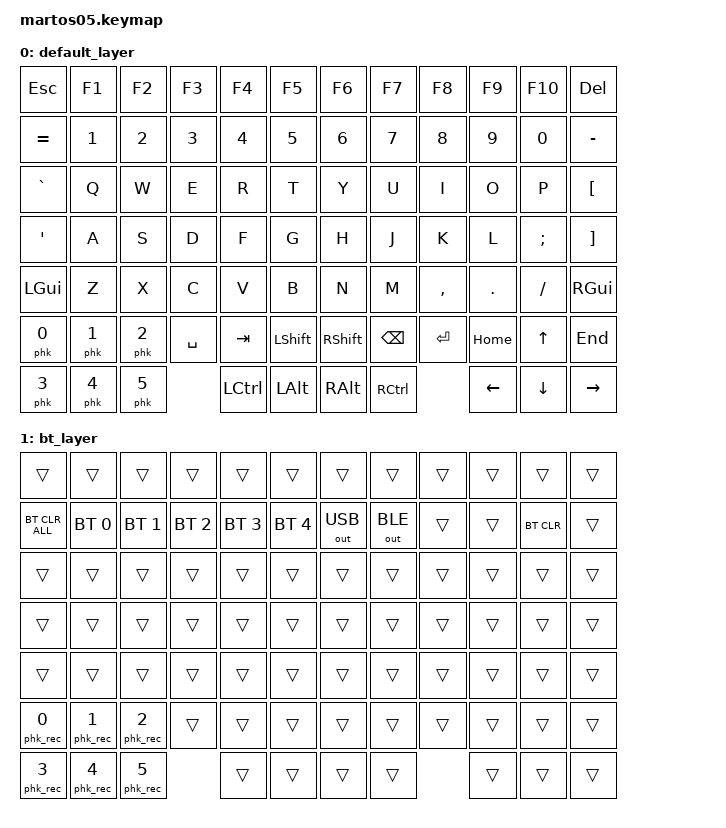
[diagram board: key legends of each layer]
#include <behaviors.dtsi>
#include <dt-bindings/zmk/keys.h>
#include <dt-bindings/zmk/bt.h>
#include <dt-bindings/zmk/outputs.h>

// Firmware sends QWERTY-positional scan codes. OS must be set to Colemak —
// it remaps the scan codes to the Colemak characters printed on the keycaps.
// Bindings below reflect QWERTY positions; the comment block shows what the
// user actually types (i.e. Colemak) when the OS layout is active.

#define DEF 0
#define BT  1

/ {
    behaviors {
        phk: programmable_hotkey {
            compatible = "zmk,behavior-programmable-hotkey";
            #binding-cells = <1>;
            defaults = <LS(F10) LS(F9) LC(F2) F8 F7 F9>;
        };

        phk_rec: programmable_hotkey_record {
            compatible = "zmk,behavior-programmable-hotkey-record";
            #binding-cells = <1>;
        };
    };

    combos {
        compatible = "zmk,combos";

        // Esc (pos 0) + Del (pos 11) — toggles the BT layer on/off.
        // Works both from DEF (enter BT) and from BT (leave BT).
        combo_bt_toggle {
            timeout-ms = <50>;
            key-positions = <0 11>;
            bindings = <&tog BT>;
            layers = <DEF BT>;
        };
    };

    keymap {
        compatible = "zmk,keymap";

        default_layer {
            // Produces on screen (with OS in Colemak):
            // | Esc   | F1    | F2    | F3    | F4    | F5    | F6    | F7    | F8    | F9    | F10   | Del   |
            // | =     | 1     | 2     | 3     | 4     | 5     | 6     | 7     | 8     | 9     | 0     | -     |
            // | `     | Q     | W     | F     | P     | G     | J     | L     | U     | Y     | ;     | [     |
            // | '     | A     | R     | S     | T     | D     | H     | N     | E     | I     | O     | ]     |
            // | LGUI  | Z     | X     | C     | V     | B     | K     | M     | ,     | .     | /     | RGUI  |
            // | M1    | M2    | M3    | Space | Tab   | LSFT  | RSFT  | BSPC  | Enter | Home  | Up    | End   |
            // | M4    | M5    | M6    |       | LCTL  | LALT  | RALT  | RCTL  |       | Left  | Down  | Right |

            bindings = <
            &kp ESC      &kp F1       &kp F2       &kp F3       &kp F4       &kp F5       &kp F6       &kp F7       &kp F8       &kp F9       &kp F10      &kp DEL
            &kp EQUAL    &kp N1       &kp N2       &kp N3       &kp N4       &kp N5       &kp N6       &kp N7       &kp N8       &kp N9       &kp N0       &kp MINUS
            &kp GRAVE    &kp Q        &kp W        &kp E        &kp R        &kp T        &kp Y        &kp U        &kp I        &kp O        &kp P        &kp LBKT
            &kp APOS     &kp A        &kp S        &kp D        &kp F        &kp G        &kp H        &kp J        &kp K        &kp L        &kp SEMI     &kp RBKT
            &kp LGUI     &kp Z        &kp X        &kp C        &kp V        &kp B        &kp N        &kp M        &kp COMMA    &kp DOT      &kp FSLH     &kp RGUI
            &phk 0       &phk 1       &phk 2       &kp SPACE    &kp TAB      &kp LSHFT    &kp RSHFT    &kp BSPC     &kp RET      &kp HOME     &kp UP       &kp END
            &phk 3       &phk 4       &phk 5                    &kp LCTRL    &kp LALT     &kp RALT     &kp RCTRL                 &kp LEFT     &kp DOWN     &kp RIGHT
            >;
        };

        bt_layer {
            // Enter/exit this layer with the Esc+Del combo.
            // | —        | —    | —    | —    | —    | —    | —    | —    | —    | —    | —   | —     |
            // | CLR_ALL  | BT1  | BT2  | BT3  | BT4  | BT5  | USB  | BLE  | —    | —    | CLR | —     |
            // BT1..BT5  = select profile 1..5
            // USB / BLE = switch HID output
            // CLR       = unpair the currently selected profile (to re-pair it)
            // CLR_ALL   = unpair ALL profiles (nuclear)

            bindings = <
            &trans           &trans           &trans           &trans           &trans           &trans           &trans           &trans           &trans           &trans           &trans           &trans
            &bt BT_CLR_ALL   &bt BT_SEL 0     &bt BT_SEL 1     &bt BT_SEL 2     &bt BT_SEL 3     &bt BT_SEL 4     &out OUT_USB     &out OUT_BLE     &trans           &trans           &bt BT_CLR       &trans
            &trans           &trans           &trans           &trans           &trans           &trans           &trans           &trans           &trans           &trans           &trans           &trans
            &trans           &trans           &trans           &trans           &trans           &trans           &trans           &trans           &trans           &trans           &trans           &trans
            &trans           &trans           &trans           &trans           &trans           &trans           &trans           &trans           &trans           &trans           &trans           &trans
            &phk_rec 0       &phk_rec 1       &phk_rec 2       &trans           &trans           &trans           &trans           &trans           &trans           &trans           &trans           &trans
            &phk_rec 3       &phk_rec 4       &phk_rec 5                        &trans           &trans           &trans           &trans                            &trans           &trans           &trans
            >;
        };
    };
};
